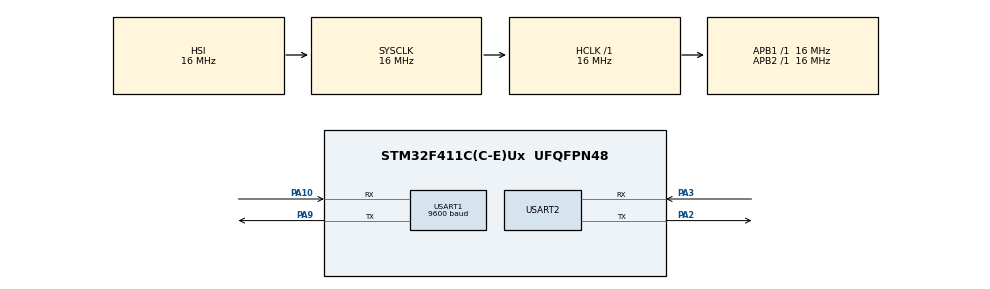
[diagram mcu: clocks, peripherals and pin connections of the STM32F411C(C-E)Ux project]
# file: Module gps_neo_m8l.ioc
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Dma.Request0=USART2_RX
Dma.USART2_RX.0.Direction=DMA_PERIPH_TO_MEMORY
Dma.USART2_RX.0.FIFOMode=DMA_FIFOMODE_DISABLE
Dma.USART2_RX.0.Instance=DMA1_Stream5
Dma.USART2_RX.0.MemDataAlignment=DMA_MDATAALIGN_BYTE
Dma.USART2_RX.0.MemInc=DMA_MINC_ENABLE
Dma.USART2_RX.0.Mode=DMA_CIRCULAR
Dma.USART2_RX.0.PeriphDataAlignment=DMA_PDATAALIGN_BYTE
Dma.USART2_RX.0.PeriphInc=DMA_PINC_DISABLE
Dma.USART2_RX.0.Priority=DMA_PRIORITY_LOW
Mcu.Family=STM32F4
Mcu.Name=STM32F411C(C-E)Ux
Mcu.Package=UFQFPN48
NVIC.DMA1_Stream5_IRQn=true\:0\:0\:false\:false\:true\:false\:true\:true
NVIC.PriorityGroup=NVIC_PRIORITYGROUP_4
NVIC.USART1_IRQn=true\:0\:0\:false\:false\:true\:true\:true\:true
NVIC.USART2_IRQn=true\:0\:0\:false\:false\:true\:true\:true\:true
PA10.Mode=Asynchronous
PA10.Signal=USART1_RX
PA13.Mode=Serial_Wire
PA13.Signal=SYS_JTMS-SWDIO
PA14.Mode=Serial_Wire
PA14.Signal=SYS_JTCK-SWCLK
PA2.Mode=Asynchronous
PA2.Signal=USART2_TX
PA3.Mode=Asynchronous
PA3.Signal=USART2_RX
PA9.Mode=Asynchronous
PA9.Signal=USART1_TX
ProjectManager.HeapSize=0x200
ProjectManager.StackSize=0x1000
ProjectManager.TargetToolchain=STM32CubeIDE
RCC.AHBFreq_Value=16000000
RCC.APB1Freq_Value=16000000
RCC.APB2Freq_Value=16000000
RCC.CortexFreq_Value=16000000
RCC.HSE_VALUE=25000000
RCC.HSI_VALUE=16000000
RCC.LSE_VALUE=32768
RCC.SYSCLKFreq_VALUE=16000000
RCC.VCOOutputFreq_Value=192000000
USART1.BaudRate=9600
USART1.VirtualMode=VM_ASYNC
USART2.VirtualMode=VM_ASYNC
board=custom

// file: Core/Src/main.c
/* USER CODE BEGIN Header */
/**
  ******************************************************************************
  * @file           : main.c
  * @brief          : Main program body
  ******************************************************************************
  * @attention
  *
  * Copyright (c) 2026 STMicroelectronics.
  * All rights reserved.
  *
  * This software is licensed under terms that can be found in the LICENSE file
  * in the root directory of this software component.
  * If no LICENSE file comes with this software, it is provided AS-IS.
  *
  ******************************************************************************
  */
/* USER CODE END Header */

#include "main.h"

/* USER CODE BEGIN Includes */
#include "gps.h"
#include "a7670.h"
#include "tb_mqtt.h"

#include <stdio.h>
#include <string.h>
/* USER CODE END Includes */

UART_HandleTypeDef huart1;
UART_HandleTypeDef huart2;
DMA_HandleTypeDef hdma_usart2_rx;

/* USER CODE BEGIN PV */
static uint32_t last_publish_ms = 0U;
static char gps_json[512];
/* USER CODE END PV */

void SystemClock_Config(void);
static void MX_GPIO_Init(void);
static void MX_DMA_Init(void);
static void MX_USART1_UART_Init(void);
static void MX_USART2_UART_Init(void);

int main(void)
{

  /* MCU Configuration--------------------------------------------------------*/

  /* Reset of all peripherals, Initializes the Flash interface and the Systick. */
  HAL_Init();

  /* Configure the system clock */
  SystemClock_Config();

  /* Initialize all configured peripherals */
  MX_GPIO_Init();
  MX_DMA_Init();
  MX_USART1_UART_Init();
  MX_USART2_UART_Init();

  /* USER CODE BEGIN 2 */
  /* USART1: NEO-M8L, RX interrupt tung byte. */
  GPS_Init(&huart1);

  /* USART2 phai duoc init sau DMA va truoc khi bat dau RX-to-IDLE. */
  A7670_Init(&huart2);

  TB_MQTT_Init();
  /* USER CODE END 2 */

  /* Infinite loop */
  while (1)
  {

    /* USER CODE BEGIN 3 */
    uint32_t now;

    GPS_Task();
    A7670_Task();
    TB_MQTT_Task();

    now = HAL_GetTick();
    if ((now - last_publish_ms) >= 5000U)
    {
      last_publish_ms = now;

      if (TB_MQTT_IsConnected() != 0U)
      {
        GPS_BuildThingsBoardJSON(gps_json, sizeof(gps_json));
        (void)TB_MQTT_PublishTelemetry(gps_json);
      }
    }

    HAL_Delay(1U);
  }
  /* USER CODE END 3 */
}

void SystemClock_Config(void)
{
  RCC_OscInitTypeDef RCC_OscInitStruct = {0};
  RCC_ClkInitTypeDef RCC_ClkInitStruct = {0};

  /** Configure the main internal regulator output voltage
  */
  __HAL_RCC_PWR_CLK_ENABLE();
  __HAL_PWR_VOLTAGESCALING_CONFIG(PWR_REGULATOR_VOLTAGE_SCALE1);

  /** Initializes the RCC Oscillators according to the specified parameters
  * in the RCC_OscInitTypeDef structure.
  */
  RCC_OscInitStruct.OscillatorType = RCC_OSCILLATORTYPE_HSI;
  RCC_OscInitStruct.HSIState = RCC_HSI_ON;
  RCC_OscInitStruct.HSICalibrationValue = RCC_HSICALIBRATION_DEFAULT;
  RCC_OscInitStruct.PLL.PLLState = RCC_PLL_NONE;
  if (HAL_RCC_OscConfig(&RCC_OscInitStruct) != HAL_OK)
  {
    Error_Handler();
  }

  /** Initializes the CPU, AHB and APB buses clocks
  */
  RCC_ClkInitStruct.ClockType = RCC_CLOCKTYPE_HCLK|RCC_CLOCKTYPE_SYSCLK
                              |RCC_CLOCKTYPE_PCLK1|RCC_CLOCKTYPE_PCLK2;
  RCC_ClkInitStruct.SYSCLKSource = RCC_SYSCLKSOURCE_HSI;
  RCC_ClkInitStruct.AHBCLKDivider = RCC_SYSCLK_DIV1;
  RCC_ClkInitStruct.APB1CLKDivider = RCC_HCLK_DIV1;
  RCC_ClkInitStruct.APB2CLKDivider = RCC_HCLK_DIV1;

  if (HAL_RCC_ClockConfig(&RCC_ClkInitStruct, FLASH_LATENCY_0) != HAL_OK)
  {
    Error_Handler();
  }
}

static void MX_USART1_UART_Init(void)
{

  huart1.Instance = USART1;
  huart1.Init.BaudRate = 9600;
  huart1.Init.WordLength = UART_WORDLENGTH_8B;
  huart1.Init.StopBits = UART_STOPBITS_1;
  huart1.Init.Parity = UART_PARITY_NONE;
  huart1.Init.Mode = UART_MODE_TX_RX;
  huart1.Init.HwFlowCtl = UART_HWCONTROL_NONE;
  huart1.Init.OverSampling = UART_OVERSAMPLING_16;
  if (HAL_UART_Init(&huart1) != HAL_OK)
  {
    Error_Handler();
  }
}

static void MX_USART2_UART_Init(void)
{

  huart2.Instance = USART2;
  huart2.Init.BaudRate = 115200;
  huart2.Init.WordLength = UART_WORDLENGTH_8B;
  huart2.Init.StopBits = UART_STOPBITS_1;
  huart2.Init.Parity = UART_PARITY_NONE;
  huart2.Init.Mode = UART_MODE_TX_RX;
  huart2.Init.HwFlowCtl = UART_HWCONTROL_NONE;
  huart2.Init.OverSampling = UART_OVERSAMPLING_16;
  if (HAL_UART_Init(&huart2) != HAL_OK)
  {
    Error_Handler();
  }
}

static void MX_DMA_Init(void)
{
  /* DMA controller clock enable */
  __HAL_RCC_DMA1_CLK_ENABLE();

  /* DMA interrupt init */
  /* DMA1_Stream5_IRQn interrupt configuration */
  HAL_NVIC_SetPriority(DMA1_Stream5_IRQn, 0, 0);
  HAL_NVIC_EnableIRQ(DMA1_Stream5_IRQn);
}

static void MX_GPIO_Init(void)
{

  /* GPIO Ports Clock Enable */
  __HAL_RCC_GPIOA_CLK_ENABLE();

}

/* USER CODE BEGIN 4 */
void HAL_UARTEx_RxEventCallback(UART_HandleTypeDef *huart, uint16_t Size)
{
  if ((huart != NULL) && (huart->Instance == USART2))
  {
    A7670_RxEventCallback(huart, Size);
  }
}

void HAL_UART_RxCpltCallback(UART_HandleTypeDef *huart)
{
  if ((huart != NULL) && (huart->Instance == USART1))
  {
    GPS_RxCallback(huart);
  }
}

void HAL_UART_ErrorCallback(UART_HandleTypeDef *huart)
{
  if (huart == NULL)
  {
    return;
  }

  if (huart->Instance == USART1)
  {
    GPS_ErrorCallback(huart);
  }
  else if (huart->Instance == USART2)
  {
    A7670_ErrorCallback(huart);
  }
}
/* USER CODE END 4 */

void Error_Handler(void)
{
  __disable_irq();
  while (1)
  {
  }
}
